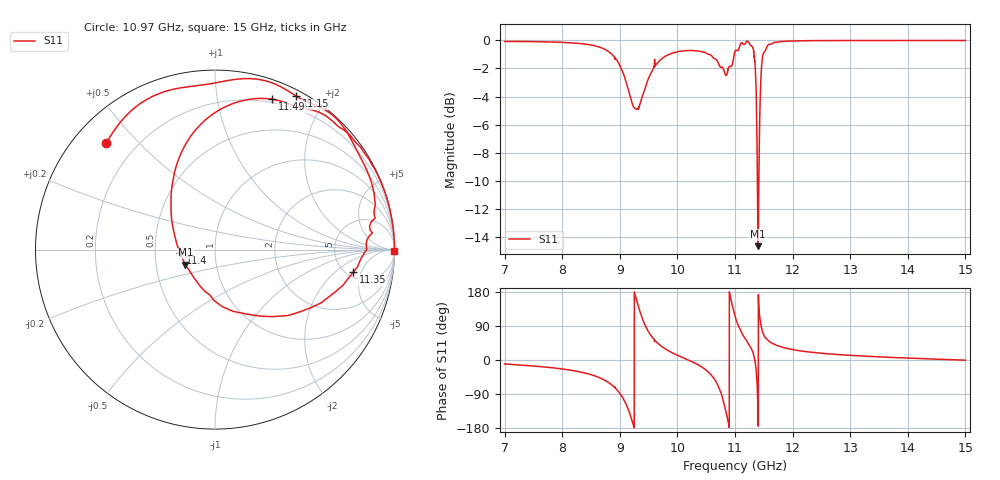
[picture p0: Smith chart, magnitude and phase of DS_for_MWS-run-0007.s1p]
! TOUCHSTONE file generated by CST DESIGN STUDIO
! Date and time: Mon Feb 10 16:46:59 2025
! Project name: C:\Work\MatlabApps\UnitCellType2OptimizationMatlab\CST\unitcell.cst
! Tree item: Tasks\Sweep1\SPara1\S-Parameters
! Header version: 2024
! Port assignment regex: !\s*Touchstone port\s*([0-9]+)\s*=\s*(CST MWS port|CST DES external port|CST DES block port)\s*(.+)\s* \(\"(.*)\"\)(\s*mode\s*([0-9]+))?.*
! Touchstone port assignment:
! Touchstone port 1 = CST DES external port 1 ("")
# GHz S MA R 50
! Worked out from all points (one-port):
!   4001 points, 7 GHz to 15 GHz, reference 50 ohm
!   lowest |S11| = -14.7 dB at 11.4 GHz (marker M1), VSWR 1.45, Z = 35.4 - j6.13 ohm
!   |S11| at or under -10 dB: 11.3881 GHz to 11.41391 GHz (25.8 MHz wide, 0.226 % of centre)
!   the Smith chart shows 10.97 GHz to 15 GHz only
!   S11 on the Smith chart (normalised r, x): 10.97 GHz: 0.10, +0.40; 11.15 GHz: 0.06, +1.66; 11.35 GHz: 5.76, -3.67; 11.4 GHz: 0.67, -0.03; 11.49 GHz: 0.17, +1.44; 15 GHz: open
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7  0.9919 -10.5
8  0.9847 -23.7
8.644  0.947 -46.5
9  0.8141 -87.9
9.118  0.6997 -119.8
9.238  0.58 -172.8
9.446  0.6813 89.7
9.642  0.8245 46.8
10  0.9113 12.6
10.512  0.8973 -28.3
10.65  0.8604 -52.0
10.756  0.802 -86.3
10.818  0.7697 -121.0
10.882  0.7881 -163.1
10.968  0.8477 135.6
11  0.9151 116.8
11.152  0.9671 62.1
11.298  0.9515 25.3
11.354  0.7814 -9.1
11.4  0.1845 -153.1
11.404  0.1964 -174.6
11.436  0.6029 106.2
11.49  0.8961 69.1
11.634  0.9709 45.0
12  0.9964 27.5
13  0.9993 12.3
14  0.9999 5.1
15  0.9996 -0.5
